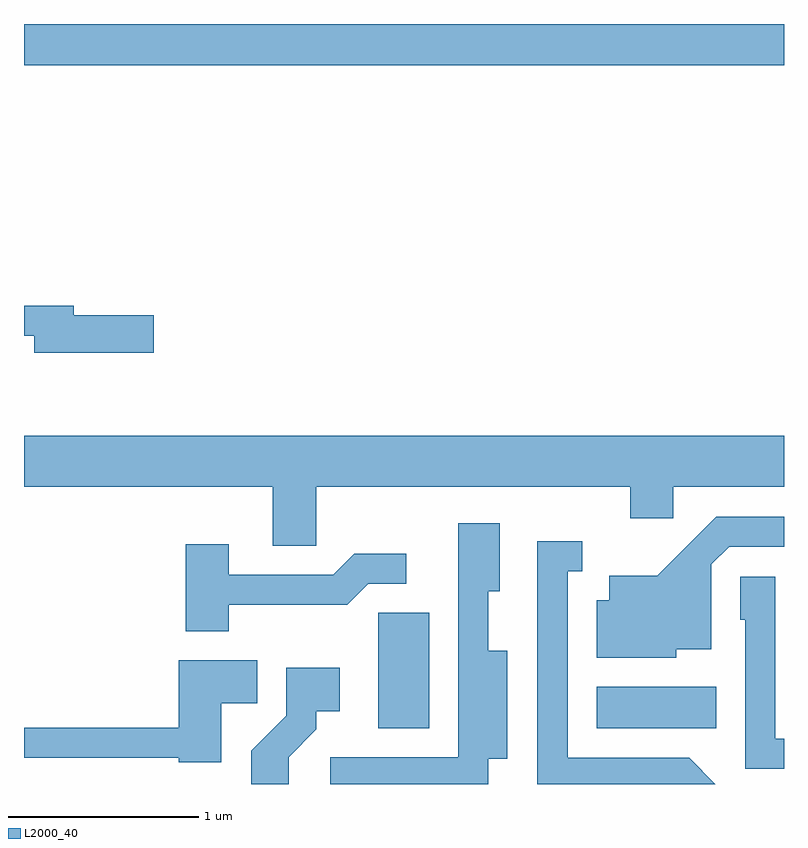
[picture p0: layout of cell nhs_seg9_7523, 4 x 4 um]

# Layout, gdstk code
import gdstk
lib = gdstk.Library(unit=1e-6, precision=1e-09)
def R(c, l, rs):  # rectangles x0, y0, x1, y1
    for r in rs: c.add(gdstk.rectangle(r[:2], r[2:], *l))
def P(c, l, *ps):  # polygons
    for p in ps: c.add(gdstk.Polygon(p, *l))
L2000_40 = (2000, 40)

nhs_seg9_7523 = lib.new_cell('nhs_seg9_7523')
R(nhs_seg9_7523, L2000_40, [(409.476,2032.726,409.744,2033.334), (410.626,2032.726,411.254,2032.944), (407.611,2036.216,411.611,2036.432)])
P(nhs_seg9_7523, L2000_40, [(408.294,2034.899),(407.874,2034.899),(407.874,2034.949),(407.611,2034.949),(407.611,2034.791),(407.666,2034.791),(407.666,2034.701),(408.294,2034.701)],
  [(409.149,2033.996),(410.801,2033.996),(410.801,2033.831),(411.029,2033.831),(411.029,2033.996),(411.611,2033.996),(411.611,2034.264),(407.611,2034.264),(407.611,2033.996),(408.921,2033.996),(408.921,2033.686),(409.149,2033.686)],
  [(411.044,2033.141),(411.229,2033.141),(411.229,2033.589),(411.322,2033.681),(411.611,2033.681),(411.611,2033.839),(411.254,2033.839),(410.944,2033.529),(410.691,2033.529),(410.691,2033.399),(410.626,2033.399),(410.626,2033.096),(411.044,2033.096)],
  [(410.054,2032.566),(410.154,2032.566),(410.154,2033.134),(410.054,2033.134),(410.054,2033.446),(410.114,2033.446),(410.114,2033.804),(409.896,2033.804),(409.896,2032.574),(409.223,2032.574),(409.223,2032.432),(410.054,2032.432)],
  [(411.112,2032.569),(410.474,2032.569),(410.474,2033.551),(410.548,2033.551),(410.548,2033.709),(410.311,2033.709),(410.311,2032.432),(411.249,2032.432)],
  [(408.689,2033.376),(409.312,2033.376),(409.422,2033.486),(409.623,2033.486),(409.623,2033.644),(409.349,2033.644),(409.239,2033.534),(408.689,2033.534),(408.689,2033.694),(408.461,2033.694),(408.461,2033.236),(408.689,2033.236)],
  [(411.611,2032.669),(411.564,2032.669),(411.564,2033.524),(411.381,2033.524),(411.381,2033.296),(411.406,2033.296),(411.406,2032.511),(411.611,2032.511)],
  [(408.649,2032.856),(408.839,2032.856),(408.839,2033.084),(408.426,2033.084),(408.426,2032.729),(407.611,2032.729),(407.611,2032.571),(408.426,2032.571),(408.426,2032.546),(408.649,2032.546)],
  [(409.004,2032.574),(409.149,2032.719),(409.149,2032.816),(409.274,2032.816),(409.274,2033.044),(408.991,2033.044),(408.991,2032.792),(408.806,2032.607),(408.806,2032.432),(409.004,2032.432)])

lib.write_gds('nhs_seg9_7523.gds')
